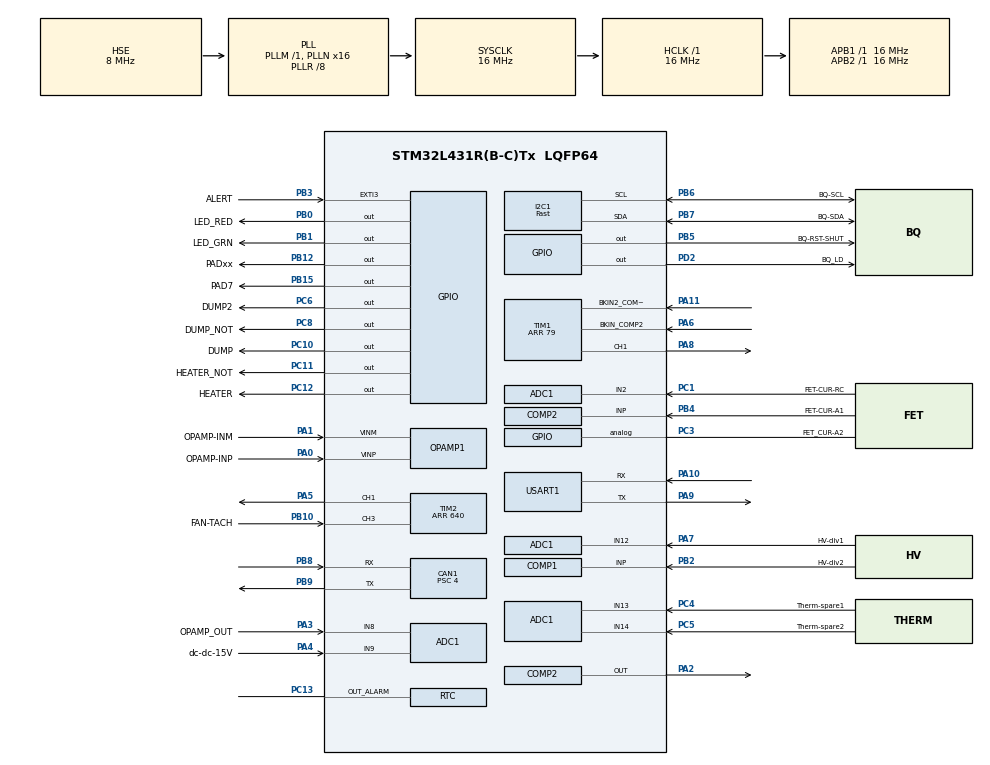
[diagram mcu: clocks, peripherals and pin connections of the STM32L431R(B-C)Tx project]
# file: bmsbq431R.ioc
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ADC1.Channel-0\#ChannelRegularConversion=ADC_CHANNEL_8
ADC1.Channel-1\#ChannelRegularConversion=ADC_CHANNEL_9
ADC1.Channel-2\#ChannelRegularConversion=ADC_CHANNEL_12
ADC1.Channel-3\#ChannelRegularConversion=ADC_CHANNEL_2
ADC1.Channel-4\#ChannelRegularConversion=ADC_CHANNEL_13
ADC1.Channel-5\#ChannelRegularConversion=ADC_CHANNEL_14
ADC1.Channel-6\#ChannelRegularConversion=ADC_CHANNEL_TEMPSENSOR
ADC1.Channel-7\#ChannelRegularConversion=ADC_CHANNEL_VREFINT
ADC1.ClockPrescaler=ADC_CLOCK_ASYNC_DIV1
ADC1.ContinuousConvMode=ENABLE
ADC1.DMAContinuousRequests=ENABLE
ADC1.EOCSelection=ADC_EOC_SEQ_CONV
ADC1.EnableInjectedConversion=DISABLE
ADC1.NbrOfConversion=8
ADC1.NbrOfConversionFlag=1
ADC1.OffsetNumber-0\#ChannelRegularConversion=ADC_OFFSET_NONE
ADC1.OffsetNumber-1\#ChannelRegularConversion=ADC_OFFSET_NONE
ADC1.OffsetNumber-2\#ChannelRegularConversion=ADC_OFFSET_NONE
ADC1.OffsetNumber-3\#ChannelRegularConversion=ADC_OFFSET_NONE
ADC1.OffsetNumber-4\#ChannelRegularConversion=ADC_OFFSET_NONE
ADC1.OffsetNumber-5\#ChannelRegularConversion=ADC_OFFSET_NONE
ADC1.OffsetNumber-6\#ChannelRegularConversion=ADC_OFFSET_NONE
ADC1.OffsetNumber-7\#ChannelRegularConversion=ADC_OFFSET_NONE
ADC1.Rank-0\#ChannelRegularConversion=1
ADC1.Rank-1\#ChannelRegularConversion=2
ADC1.Rank-2\#ChannelRegularConversion=3
ADC1.Rank-3\#ChannelRegularConversion=4
ADC1.Rank-4\#ChannelRegularConversion=5
ADC1.Rank-5\#ChannelRegularConversion=6
ADC1.Rank-6\#ChannelRegularConversion=7
ADC1.Rank-7\#ChannelRegularConversion=8
ADC1.SamplingTime-0\#ChannelRegularConversion=ADC_SAMPLETIME_24CYCLES_5
ADC1.SamplingTime-1\#ChannelRegularConversion=ADC_SAMPLETIME_47CYCLES_5
ADC1.SamplingTime-2\#ChannelRegularConversion=ADC_SAMPLETIME_92CYCLES_5
ADC1.SamplingTime-3\#ChannelRegularConversion=ADC_SAMPLETIME_12CYCLES_5
ADC1.SamplingTime-4\#ChannelRegularConversion=ADC_SAMPLETIME_47CYCLES_5
ADC1.SamplingTime-5\#ChannelRegularConversion=ADC_SAMPLETIME_47CYCLES_5
ADC1.SamplingTime-6\#ChannelRegularConversion=ADC_SAMPLETIME_247CYCLES_5
ADC1.SamplingTime-7\#ChannelRegularConversion=ADC_SAMPLETIME_247CYCLES_5
ADC1.master=1
CAN1.ABOM=ENABLE
CAN1.BS1=CAN_BS1_5TQ
CAN1.BS2=CAN_BS2_2TQ
CAN1.CalculateBaudRate=500000
CAN1.CalculateTimeBit=2000.00
CAN1.CalculateTimeQuantum=250.0
CAN1.Prescaler=4
COMP1.BlankingSrce=COMP_BLANKINGSRC_NONE
COMP2.BlankingSrce=COMP_BLANKINGSRC_NONE
DAC1.DAC_Channel-DAC_OUT2_Int=DAC_CHANNEL_2
Dma.ADC1.4.Direction=DMA_PERIPH_TO_MEMORY
Dma.ADC1.4.Instance=DMA1_Channel1
Dma.ADC1.4.MemDataAlignment=DMA_MDATAALIGN_HALFWORD
Dma.ADC1.4.MemInc=DMA_MINC_ENABLE
Dma.ADC1.4.Mode=DMA_CIRCULAR
Dma.ADC1.4.PeriphDataAlignment=DMA_PDATAALIGN_HALFWORD
Dma.ADC1.4.PeriphInc=DMA_PINC_DISABLE
Dma.ADC1.4.Priority=DMA_PRIORITY_LOW
Dma.I2C1_RX.2.Direction=DMA_PERIPH_TO_MEMORY
Dma.I2C1_RX.2.Instance=DMA1_Channel7
Dma.I2C1_RX.2.MemDataAlignment=DMA_MDATAALIGN_BYTE
Dma.I2C1_RX.2.MemInc=DMA_MINC_ENABLE
Dma.I2C1_RX.2.Mode=DMA_NORMAL
Dma.I2C1_RX.2.PeriphDataAlignment=DMA_PDATAALIGN_BYTE
Dma.I2C1_RX.2.PeriphInc=DMA_PINC_DISABLE
Dma.I2C1_RX.2.Priority=DMA_PRIORITY_LOW
Dma.I2C1_TX.3.Direction=DMA_MEMORY_TO_PERIPH
Dma.I2C1_TX.3.Instance=DMA1_Channel6
Dma.I2C1_TX.3.MemDataAlignment=DMA_MDATAALIGN_BYTE
Dma.I2C1_TX.3.MemInc=DMA_MINC_ENABLE
Dma.I2C1_TX.3.Mode=DMA_NORMAL
Dma.I2C1_TX.3.PeriphDataAlignment=DMA_PDATAALIGN_BYTE
Dma.I2C1_TX.3.PeriphInc=DMA_PINC_DISABLE
Dma.I2C1_TX.3.Priority=DMA_PRIORITY_LOW
Dma.Request0=USART1_RX
Dma.Request1=USART1_TX
Dma.Request2=I2C1_RX
Dma.Request3=I2C1_TX
Dma.Request4=ADC1
Dma.USART1_RX.0.Direction=DMA_PERIPH_TO_MEMORY
Dma.USART1_RX.0.Instance=DMA2_Channel7
Dma.USART1_RX.0.MemDataAlignment=DMA_MDATAALIGN_BYTE
Dma.USART1_RX.0.MemInc=DMA_MINC_ENABLE
Dma.USART1_RX.0.Mode=DMA_CIRCULAR
Dma.USART1_RX.0.PeriphDataAlignment=DMA_PDATAALIGN_BYTE
Dma.USART1_RX.0.PeriphInc=DMA_PINC_DISABLE
Dma.USART1_RX.0.Priority=DMA_PRIORITY_LOW
Dma.USART1_TX.1.Direction=DMA_MEMORY_TO_PERIPH
Dma.USART1_TX.1.Instance=DMA2_Channel6
Dma.USART1_TX.1.MemDataAlignment=DMA_MDATAALIGN_BYTE
Dma.USART1_TX.1.MemInc=DMA_MINC_ENABLE
Dma.USART1_TX.1.Mode=DMA_NORMAL
Dma.USART1_TX.1.PeriphDataAlignment=DMA_PDATAALIGN_BYTE
Dma.USART1_TX.1.PeriphInc=DMA_PINC_DISABLE
Dma.USART1_TX.1.Priority=DMA_PRIORITY_LOW
FREERTOS.Tasks01=defaultTask,24,384,StartDefaultTask,Default,NULL,Dynamic,NULL,NULL
FREERTOS.configTOTAL_HEAP_SIZE=15360
I2C1.I2C_Speed_Mode=I2C_Fast
I2C1.Timing=0x0010061A
Mcu.Family=STM32L4
Mcu.Name=STM32L431R(B-C)Tx
Mcu.Package=LQFP64
NVIC.CAN1_RX0_IRQn=true\:7\:0\:true\:false\:true\:true\:true\:true
NVIC.CAN1_RX1_IRQn=true\:7\:0\:true\:false\:true\:true\:true\:true
NVIC.CAN1_TX_IRQn=true\:7\:0\:true\:false\:true\:true\:true\:true
NVIC.DMA1_Channel1_IRQn=true\:6\:0\:true\:false\:true\:true\:false\:true
NVIC.DMA1_Channel6_IRQn=true\:6\:0\:true\:false\:true\:true\:false\:true
NVIC.DMA1_Channel7_IRQn=true\:6\:0\:true\:false\:true\:true\:false\:true
NVIC.DMA2_Channel6_IRQn=true\:6\:0\:true\:false\:true\:false\:false\:true
NVIC.DMA2_Channel7_IRQn=true\:6\:0\:true\:false\:true\:false\:false\:true
NVIC.EXTI3_IRQn=true\:11\:0\:true\:false\:true\:true\:true\:true
NVIC.I2C1_EV_IRQn=true\:8\:0\:true\:false\:true\:true\:true\:true
NVIC.PriorityGroup=NVIC_PRIORITYGROUP_4
NVIC.TIM1_UP_TIM16_IRQn=true\:0\:0\:false\:false\:true\:false\:false\:true
NVIC.TIM2_IRQn=true\:11\:0\:true\:false\:true\:true\:true\:true
NVIC.TimeBase=TIM1_UP_TIM16_IRQn
NVIC.TimeBaseIP=TIM16
NVIC.USART1_IRQn=true\:10\:0\:true\:false\:true\:true\:true\:true
OPAMP1.PgaGain=OPAMP_PGA_GAIN_8
OPAMP1.PowerSupplyRange=OPAMP_POWERSUPPLY_HIGH
PA0.GPIO_Label=OPAMP-INP
PA0.Signal=SharedAnalog_PA0
PA1.GPIO_Label=OPAMP-INM
PA1.Signal=SharedAnalog_PA1
PA10.Mode=Asynchronous
PA10.Signal=USART1_RX
PA11.Mode=ExternalOutput_TIM1BKIN2
PA11.Signal=TIM1_BKIN2_COMP1
PA13\ (JTMS-SWDIO).Mode=Serial_Wire
PA13\ (JTMS-SWDIO).Signal=SYS_JTMS-SWDIO
PA14\ (JTCK-SWCLK).Mode=Serial_Wire
PA14\ (JTCK-SWCLK).Signal=SYS_JTCK-SWCLK
PA2.Mode=ExternalOutput
PA2.Signal=COMP2_OUT
PA3.GPIO_Label=OPAMP_OUT
PA3.Signal=SharedAnalog_PA3
PA4.GPIO_Label=dc-dc-15V
PA4.Signal=SharedAnalog_PA4
PA5.Signal=S_TIM2_CH1
PA6.Mode=ExternalOutput_TIM1BKIN
PA6.Signal=TIM1_BKIN_COMP2
PA7.GPIO_Label=HV-div1
PA7.Signal=SharedAnalog_PA7
PA8.Signal=S_TIM1_CH1
PA9.Mode=Asynchronous
PA9.Signal=USART1_TX
PB0.GPIO_Label=LED_RED
PB0.PinState=GPIO_PIN_SET
PB0.Signal=GPIO_Output
PB1.GPIO_Label=LED_GRN
PB1.PinState=GPIO_PIN_SET
PB1.Signal=GPIO_Output
PB10.GPIO_Label=FAN-TACH
PB10.GPIO_PuPd=GPIO_PULLUP
PB10.Signal=S_TIM2_CH3
PB12.GPIO_Label=PADxx
PB12.Signal=GPIO_Output
PB13.GPIO_Pu=GPIO_NOPULL
PB13.GPIO_Speed=GPIO_SPEED_FREQ_LOW
PB13.Signal=I2C2_SCL
PB14.GPIO_Pu=GPIO_NOPULL
PB14.Signal=I2C2_SDA
PB15.GPIO_Label=PAD7
PB15.Signal=GPIO_Output
PB2.GPIO_Label=HV-div2
PB2.Signal=SharedAnalog_PB2
PB3\ (JTDO-TRACESWO).GPIO_Label=ALERT
PB3\ (JTDO-TRACESWO).Signal=GPXTI3
PB4\ (NJTRST).GPIO_Label=FET-CUR-A1
PB4\ (NJTRST).Signal=SharedAnalog_PB4
PB5.GPIO_Label=BQ-RST-SHUT
PB5.Signal=GPIO_Output
PB6.GPIO_Label=BQ-SCL
PB6.GPIO_Pu=GPIO_PULLUP
PB6.Mode=I2C
PB6.Signal=I2C1_SCL
PB7.GPIO_Label=BQ-SDA
PB7.GPIO_Pu=GPIO_PULLUP
PB7.Mode=I2C
PB7.Signal=I2C1_SDA
PB8.Mode=CAN_Activate
PB8.Signal=CAN1_RX
PB9.Mode=CAN_Activate
PB9.Signal=CAN1_TX
PC1.GPIO_Label=FET-CUR-RC
PC1.Signal=SharedAnalog_PC1
PC10.GPIO_Label=DUMP
PC10.Signal=GPIO_Output
PC11.GPIO_Label=HEATER_NOT
PC11.Signal=GPIO_Output
PC12.GPIO_Label=HEATER
PC12.Signal=GPIO_Output
PC13.Mode=AlarmA_RoutedAF
PC13.Signal=RTC_OUT_ALARM
PC3.GPIO_Label=FET_CUR-A2
PC3.Signal=SharedAnalog_PC3
PC4.GPIO_Label=Therm-spare1
PC4.Signal=ADCx_IN13
PC5.GPIO_Label=Therm-spare2
PC5.Signal=ADCx_IN14
PC6.GPIO_Label=DUMP2
PC6.GPIO_PuPd=GPIO_PULLDOWN
PC6.Signal=GPIO_Output
PC8.GPIO_Label=DUMP_NOT
PC8.Signal=GPIO_Output
PD2.GPIO_Label=BQ_LD
PD2.Signal=GPIO_Output
PH0-OSC_IN\ (PH0).Mode=HSE-External-Oscillator
PH0-OSC_IN\ (PH0).Signal=RCC_OSC_IN
PH1-OSC_OUT\ (PH1).Mode=HSE-External-Oscillator
PH1-OSC_OUT\ (PH1).Signal=RCC_OSC_OUT
ProjectManager.HeapSize=0x200
ProjectManager.StackSize=0x400
ProjectManager.TargetToolchain=Makefile
RCC.ADCFreq_Value=16000000
RCC.AHBFreq_Value=16000000
RCC.APB1Freq_Value=16000000
RCC.APB1TimFreq_Value=16000000
RCC.APB2Freq_Value=16000000
RCC.APB2TimFreq_Value=16000000
RCC.CortexFreq_Value=16000000
RCC.HCLKFreq_Value=16000000
RCC.HSE_VALUE=8000000
RCC.HSI48_VALUE=48000000
RCC.HSI_VALUE=16000000
RCC.I2C1CLockSelection=RCC_I2C1CLKSOURCE_SYSCLK
RCC.LSE_VALUE=32768
RCC.MSIClockRange=RCC_MSIRANGE_7
RCC.MSI_VALUE=8000000
RCC.PLLN=16
RCC.PLLR=RCC_PLLR_DIV8
RCC.PLLSAI1R=RCC_PLLR_DIV4
RCC.PLLSourceVirtual=RCC_PLLSOURCE_HSE
RCC.SYSCLKFreq_VALUE=16000000
RCC.SYSCLKSource=RCC_SYSCLKSOURCE_PLLCLK
RCC.USART1CLockSelection=RCC_USART1CLKSOURCE_HSI
RCC.VCOOutputFreq_Value=128000000
RTC.Alarm-AlarmA_RoutedAF=RTC_ALARM_A
RTC.OutPutType=RTC_OUTPUT_TYPE_PUSHPULL
SH.ADCx_IN13.0=ADC1_IN13,IN13-Single-Ended
SH.ADCx_IN14.0=ADC1_IN14,IN14-Single-Ended
SH.S_TIM1_CH1.0=TIM1_CH1,PWM Generation1 CH1
SH.S_TIM2_CH1.0=TIM2_CH1,PWM Generation1 CH1
SH.S_TIM2_CH3.0=TIM2_CH3,Input_Capture3_from_TI3
SH.SharedAnalog_PA0.0=GPIO_Analog
SH.SharedAnalog_PA0.1=ADC1_IN5
SH.SharedAnalog_PA0.2=OPAMP1_VINP,PGA Connected
SH.SharedAnalog_PA1.0=GPIO_Analog
SH.SharedAnalog_PA1.1=OPAMP1_VINM,PGA Connected
SH.SharedAnalog_PA3.0=GPIO_Analog
SH.SharedAnalog_PA3.1=ADC1_IN8,IN8-Single-Ended
SH.SharedAnalog_PA3.2=OPAMP1_VOUT,PGA Connected
SH.SharedAnalog_PA4.0=GPIO_Analog
SH.SharedAnalog_PA4.1=ADC1_IN9,IN9-Single-Ended
SH.SharedAnalog_PA7.0=GPIO_Analog
SH.SharedAnalog_PA7.1=ADC1_IN12,IN12-Single-Ended
SH.SharedAnalog_PB2.0=GPIO_Analog
SH.SharedAnalog_PB2.1=COMP1_INP,INP
SH.SharedAnalog_PB4.0=GPIO_Analog
SH.SharedAnalog_PB4.1=COMP2_INP,INP
SH.SharedAnalog_PC1.0=GPIO_Analog
SH.SharedAnalog_PC1.1=ADC1_IN2,IN2-Single-Ended
SH.SharedAnalog_PC3.0=GPIO_Analog
SH.SharedAnalog_PC3.1=ADC1_IN4
TIM1.AutomaticOutput=TIM_AUTOMATICOUTPUT_ENABLE
TIM1.Channel-PWM\ Generation1\ CH1=TIM_CHANNEL_1
TIM1.Period=79
TIM1.SourceBRK2COMP1=TIM_BREAKINPUTSOURCE_ENABLE
TIM1.SourceBRK2COMP2=TIM_BREAKINPUTSOURCE_DISABLE
TIM1.SourceBRKCOMP2=TIM_BREAKINPUTSOURCE_ENABLE
TIM2.Channel-Input_Capture3_from_TI3=TIM_CHANNEL_3
TIM2.Channel-PWM\ Generation1\ CH1=TIM_CHANNEL_1
TIM2.Period=640
USART1.OverSampling=UART_OVERSAMPLING_8
USART1.VirtualMode-Asynchronous=VM_ASYNC
VP_ADC1_TempSens_Input.Mode=IN-TempSens
VP_ADC1_Vref_Input.Mode=IN-Vrefint
VP_COMP1_VS_DACOUT1.Mode=INM_DACOUT1
VP_COMP2_VS_DACOUT2.Mode=INM_DACOUT2
VP_DAC1_VS_DACI1.Mode=DAC_OUT1_Int
VP_DAC1_VS_DACI2.Mode=DAC_OUT2_Int
VP_FREERTOS_VS_CMSIS_V2.Mode=CMSIS_V2
VP_RTC_VS_RTC_Activate.Mode=RTC_Enabled
VP_RTC_VS_RTC_Calendar.Mode=RTC_Calendar
VP_SYS_VS_tim16.Mode=TIM16
VP_TIM15_VS_ClockSourceINT.Mode=Internal
VP_TIM1_VS_BKIN2_COMP1.Mode=Activate-Break-Input-2-COMP1
VP_TIM1_VS_BKIN_COMP2.Mode=Activate-Break-Input-COMP2
VP_TIM1_VS_ClockSourceINT.Mode=Internal
VP_TIM2_VS_ClockSourceINT.Mode=Internal
board=custom

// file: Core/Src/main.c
/* USER CODE BEGIN Header */
/**
  ******************************************************************************
  * @file           : main.c
  * @brief          : Main program body
  ******************************************************************************
  * @attention
  *
  * <h2><center>&copy; Copyright (c) 2021 STMicroelectronics.
  * All rights reserved.</center></h2>
  *
  * This software component is licensed by ST under Ultimate Liberty license
  * SLA0044, the "License"; You may not use this file except in compliance with
  * the License. You may obtain a copy of the License at:
  *                             www.st.com/SLA0044
  *
  ******************************************************************************
  */
/* USER CODE END Header */
#include "main.h"
#include "cmsis_os.h"

/* USER CODE BEGIN Includes */
#include <string.h>
#include "morse.h"
#include "DTW_counter.h"
#include "fetonoff.h"

#include "SerialTaskSend.h"
#include "SerialTaskReceive.h"
#include "CanTask.h"
#include "can_iface.h"
#include "canfilter_setup.h"
#include "getserialbuf.h"
#include "yprintf.h"
#include "DTW_counter.h"
#include "BQTask.h"
#include "bqview.h"
#include "bqcellbal.h"
#include "ChgrTask.h"
#include "bq_func_init.h"
#include "ADCTask.h"
#include "MailboxTask.h"
#include "CanCommTask.h"
#include "FanTask.h"

#include "FreeRTOS.h"
#include "semphr.h"
/* USER CODE END Includes */

/* USER CODE BEGIN PTD */
uint32_t timectr = 0;
struct CAN_CTLBLOCK* pctl0; // Pointer to CAN1 control block
//struct CAN_CTLBLOCK* pctl1; // Pointer to CAN2 control block

uint32_t debugTX1b;
uint32_t debugTX1b_prev;

uint32_t debugTX1c;
uint32_t debugTX1c_prev;

uint32_t debug03;
uint32_t debug03_prev;

//extern osThreadId SerialTaskHandle;
//extern osThreadId CanTxTaskHandle;
//extern osThreadId CanRxTaskHandle;
//extern osThreadId SerialTaskReceiveHandle;

uint16_t m_trap = 450; // Trap codes for MX Init() and Error Handler

uint8_t canflag;
uint8_t canflag1;
//uint8_t canflag2;

/* USER CODE END PTD */

ADC_HandleTypeDef hadc1;
DMA_HandleTypeDef hdma_adc1;

CAN_HandleTypeDef hcan1;

COMP_HandleTypeDef hcomp1;
COMP_HandleTypeDef hcomp2;

DAC_HandleTypeDef hdac1;

I2C_HandleTypeDef hi2c1;
DMA_HandleTypeDef hdma_i2c1_rx;
DMA_HandleTypeDef hdma_i2c1_tx;

OPAMP_HandleTypeDef hopamp1;

RTC_HandleTypeDef hrtc;

TIM_HandleTypeDef htim1;
TIM_HandleTypeDef htim2;
TIM_HandleTypeDef htim15;

UART_HandleTypeDef huart1;
DMA_HandleTypeDef hdma_usart1_rx;
DMA_HandleTypeDef hdma_usart1_tx;

/* Definitions for defaultTask */
osThreadId_t defaultTaskHandle;
const osThreadAttr_t defaultTask_attributes = {
  .name = "defaultTask",
  .stack_size = 384 * 4,
  .priority = (osPriority_t) osPriorityNormal,
};
/* USER CODE BEGIN PV */
uint16_t errorcode;
/* USER CODE END PV */

void SystemClock_Config(void);
static void MX_GPIO_Init(void);
static void MX_DMA_Init(void);
static void MX_ADC1_Init(void);
static void MX_CAN1_Init(void);
static void MX_I2C1_Init(void);
static void MX_RTC_Init(void);
static void MX_TIM2_Init(void);
static void MX_USART1_UART_Init(void);
static void MX_COMP1_Init(void);
static void MX_COMP2_Init(void);
static void MX_DAC1_Init(void);
static void MX_TIM1_Init(void);
static void MX_TIM15_Init(void);
static void MX_OPAMP1_Init(void);
void StartDefaultTask(void *argument);

int main(void)
{
  /* USER CODE BEGIN 1 */
  BaseType_t ret;    // Used for returns from function calls
  osThreadId Thrdret;  // Return from thread create
  /* USER CODE END 1 */

  /* MCU Configuration--------------------------------------------------------*/

  /* Reset of all peripherals, Initializes the Flash interface and the Systick. */
  HAL_Init();

  /* USER CODE BEGIN Init */
  DTW_counter_init();
  /* USER CODE END Init */

  /* Configure the system clock */
  SystemClock_Config();

  /* USER CODE BEGIN SysInit */
#define NUMCIRBCB1  16 // Size of circular buffer of BCB for usart3
  ret = xSerialTaskSendAdd(&HUARTMON, NUMCIRBCB1, 1); // dma
  if (ret < 0) morse_trap(111); // Panic LED flashing
  /* USER CODE END SysInit */

  /* Initialize all configured peripherals */
  MX_GPIO_Init();
  MX_DMA_Init();
  MX_ADC1_Init();
  MX_CAN1_Init();
  MX_I2C1_Init();
  MX_RTC_Init();
  MX_TIM2_Init();
  MX_USART1_UART_Init();
  MX_COMP1_Init();
  MX_COMP2_Init();
  MX_DAC1_Init();
  MX_TIM1_Init();
  MX_TIM15_Init();
  MX_OPAMP1_Init();

  /* Init scheduler */
  osKernelInitialize();

  /* USER CODE BEGIN RTOS_SEMAPHORES */
  /* add semaphores, ... */
  /* Setup semaphore for yprint and sprintf et al. */
  yprintf_init();
  /* USER CODE END RTOS_SEMAPHORES */

  /* Create the thread(s) */
  /* creation of defaultTask */
  defaultTaskHandle = osThreadNew(StartDefaultTask, NULL, &defaultTask_attributes);

  /* USER CODE BEGIN RTOS_THREADS */
  /* add threads, ... */

  Thrdret = xADCTaskCreate(1); // (arg) = priority
  if (Thrdret == NULL) morse_trap(117);

  /* Create serial task (priority) */
  // Task handle "osThreadId SerialTaskHandle" is global
  Thrdret = xSerialTaskSendCreate(osPriorityNormal); // Create task and set Task priority
  if (Thrdret == NULL) morse_trap(112);

    /* Add bcb circular buffer to SerialTaskSend for usart3 -- PC monitor */
  #define NUMCIRBCB3  16 // Size of circular buffer of BCB for usart3
  ret = xSerialTaskSendAdd(&HUARTMON, NUMCIRBCB3, 1); // dma
  if (ret < 0) morse_trap(14); // Panic LED flashing

  /* Setup TX linked list for CAN  */
   // CAN1 (CAN_HandleTypeDef *phcan, uint8_t canidx, uint16_t numtx, uint16_t numrx);
  pctl0 = can_iface_init(&hcan1, 0, 32, 32);
  if (pctl0 == NULL) morse_trap(118); // Panic LED flashing
  if (pctl0->ret < 0) morse_trap(119);

  /* Create serial receiving task. */
  //ret = xSerialTaskReceiveCreate(osPriorityNormal);
  //if (ret != pdPASS) morse_trap(113);

  /* BQ76952 I2C task. */
  TaskHandle_t retT = xBQTaskCreate(osPriorityNormal);
  if (retT == NULL) morse_trap(114);

   /* Charger task. */
  retT = xChgrTaskCreate(osPriorityNormal);
  if (retT == NULL) morse_trap(116);

  /* USER CODE END RTOS_THREADS */

  /* USER CODE BEGIN RTOS_EVENTS */
  /* add events, ... */
  // Initialize struct for BQ. */
  bq_func_init(&bqfunction);

  /* definition and creation of CanTxTask - CAN driver TX interface. */
  QueueHandle_t QHret = xCanTxTaskCreate(2, 32); // CanTask priority, Number of msgs in queue
  if (QHret == NULL) morse_trap(120); // Panic LED flashing

  /* definition and creation of CanRxTask - CAN driver RX interface. */
  /* The MailboxTask takes care of the CANRx                         */
//  Qidret = xCanRxTaskCreate(1, 32); // CanTask priority, Number of msgs in queue
//  if (Qidret < 0) morse_trap(6); // Panic LED flashing

  /* Create MailboxTask */
  xMailboxTaskCreate(2); // (arg) = priority

  /* Create Mailbox control block w 'take' pointer for each CAN module. */
  struct MAILBOXCANNUM* pmbxret;
  // (CAN1 control block pointer, size of circular buffer)
  pmbxret = MailboxTask_add_CANlist(pctl0, 32);
  if (pmbxret == NULL) morse_trap(215);

  /* Setup CAN hardware filters to default to accept all ids. */
  HAL_StatusTypeDef Cret;
  Cret = canfilter_setup_first(0, &hcan1, 15); // CAN1
  if (Cret == HAL_ERROR) morse_trap(122);

  /* CAN communication */
  retT = xCanCommCreate(osPriorityNormal);
  if (retT == NULL) morse_trap(121);

    /* Select interrupts for CAN1 */
  HAL_CAN_ActivateNotification(&hcan1, \
    CAN_IT_TX_MAILBOX_EMPTY     |  \
    CAN_IT_RX_FIFO0_MSG_PENDING |  \
    CAN_IT_RX_FIFO1_MSG_PENDING    );

  /* Fan control task. */
  retT = xFanTaskCreate(osPriorityNormal);
  if (retT == NULL) morse_trap(124);

  /* USER CODE END RTOS_EVENTS */

  /* Start scheduler */
  osKernelStart();

  /* We should never get here as control is now taken by the scheduler */
  /* Infinite loop */
  while (1)
  {

  }
}

void SystemClock_Config(void)
{
  RCC_OscInitTypeDef RCC_OscInitStruct = {0};
  RCC_ClkInitTypeDef RCC_ClkInitStruct = {0};

  /** Configure the main internal regulator output voltage
  */
  if (HAL_PWREx_ControlVoltageScaling(PWR_REGULATOR_VOLTAGE_SCALE1) != HAL_OK)
  {
    Error_Handler();
  }
  /** Initializes the RCC Oscillators according to the specified parameters
  * in the RCC_OscInitTypeDef structure.
  */
  RCC_OscInitStruct.OscillatorType = RCC_OSCILLATORTYPE_HSI|RCC_OSCILLATORTYPE_LSI
                              |RCC_OSCILLATORTYPE_HSE;
  RCC_OscInitStruct.HSEState = RCC_HSE_ON;
  RCC_OscInitStruct.HSIState = RCC_HSI_ON;
  RCC_OscInitStruct.HSICalibrationValue = RCC_HSICALIBRATION_DEFAULT;
  RCC_OscInitStruct.LSIState = RCC_LSI_ON;
  RCC_OscInitStruct.PLL.PLLState = RCC_PLL_ON;
  RCC_OscInitStruct.PLL.PLLSource = RCC_PLLSOURCE_HSE;
  RCC_OscInitStruct.PLL.PLLM = 1;
  RCC_OscInitStruct.PLL.PLLN = 16;
  RCC_OscInitStruct.PLL.PLLP = RCC_PLLP_DIV7;
  RCC_OscInitStruct.PLL.PLLQ = RCC_PLLQ_DIV2;
  RCC_OscInitStruct.PLL.PLLR = RCC_PLLR_DIV8;
  if (HAL_RCC_OscConfig(&RCC_OscInitStruct) != HAL_OK)
  {
    Error_Handler();
  }
  /** Initializes the CPU, AHB and APB buses clocks
  */
  RCC_ClkInitStruct.ClockType = RCC_CLOCKTYPE_HCLK|RCC_CLOCKTYPE_SYSCLK
                              |RCC_CLOCKTYPE_PCLK1|RCC_CLOCKTYPE_PCLK2;
  RCC_ClkInitStruct.SYSCLKSource = RCC_SYSCLKSOURCE_PLLCLK;
  RCC_ClkInitStruct.AHBCLKDivider = RCC_SYSCLK_DIV1;
  RCC_ClkInitStruct.APB1CLKDivider = RCC_HCLK_DIV1;
  RCC_ClkInitStruct.APB2CLKDivider = RCC_HCLK_DIV1;

  if (HAL_RCC_ClockConfig(&RCC_ClkInitStruct, FLASH_LATENCY_0) != HAL_OK)
  {
    Error_Handler();
  }
}

static void MX_ADC1_Init(void)
{

  ADC_ChannelConfTypeDef sConfig = {0};

  /** Common config
  */
  hadc1.Instance = ADC1;
  hadc1.Init.ClockPrescaler = ADC_CLOCK_ASYNC_DIV1;
  hadc1.Init.Resolution = ADC_RESOLUTION_12B;
  hadc1.Init.DataAlign = ADC_DATAALIGN_RIGHT;
  hadc1.Init.ScanConvMode = ADC_SCAN_ENABLE;
  hadc1.Init.EOCSelection = ADC_EOC_SEQ_CONV;
  hadc1.Init.LowPowerAutoWait = DISABLE;
  hadc1.Init.ContinuousConvMode = ENABLE;
  hadc1.Init.NbrOfConversion = 8;
  hadc1.Init.DiscontinuousConvMode = DISABLE;
  hadc1.Init.ExternalTrigConv = ADC_SOFTWARE_START;
  hadc1.Init.ExternalTrigConvEdge = ADC_EXTERNALTRIGCONVEDGE_NONE;
  hadc1.Init.DMAContinuousRequests = ENABLE;
  hadc1.Init.Overrun = ADC_OVR_DATA_PRESERVED;
  hadc1.Init.OversamplingMode = DISABLE;
  if (HAL_ADC_Init(&hadc1) != HAL_OK)
  {
    Error_Handler();
  }
  /** Configure Regular Channel
  */
  sConfig.Channel = ADC_CHANNEL_8;
  sConfig.Rank = ADC_REGULAR_RANK_1;
  sConfig.SamplingTime = ADC_SAMPLETIME_24CYCLES_5;
  sConfig.SingleDiff = ADC_SINGLE_ENDED;
  sConfig.OffsetNumber = ADC_OFFSET_NONE;
  sConfig.Offset = 0;
  if (HAL_ADC_ConfigChannel(&hadc1, &sConfig) != HAL_OK)
  {
    Error_Handler();
  }
  /** Configure Regular Channel
  */
  sConfig.Channel = ADC_CHANNEL_9;
  sConfig.Rank = ADC_REGULAR_RANK_2;
  sConfig.SamplingTime = ADC_SAMPLETIME_47CYCLES_5;
  if (HAL_ADC_ConfigChannel(&hadc1, &sConfig) != HAL_OK)
  {
    Error_Handler();
  }
  /** Configure Regular Channel
  */
  sConfig.Channel = ADC_CHANNEL_12;
  sConfig.Rank = ADC_REGULAR_RANK_3;
  sConfig.SamplingTime = ADC_SAMPLETIME_92CYCLES_5;
  if (HAL_ADC_ConfigChannel(&hadc1, &sConfig) != HAL_OK)
  {
    Error_Handler();
  }
  /** Configure Regular Channel
  */
  sConfig.Channel = ADC_CHANNEL_2;
  sConfig.Rank = ADC_REGULAR_RANK_4;
  sConfig.SamplingTime = ADC_SAMPLETIME_12CYCLES_5;
  if (HAL_ADC_ConfigChannel(&hadc1, &sConfig) != HAL_OK)
  {
    Error_Handler();
  }
  /** Configure Regular Channel
  */
  sConfig.Channel = ADC_CHANNEL_13;
  sConfig.Rank = ADC_REGULAR_RANK_5;
  sConfig.SamplingTime = ADC_SAMPLETIME_47CYCLES_5;
  if (HAL_ADC_ConfigChannel(&hadc1, &sConfig) != HAL_OK)
  {
    Error_Handler();
  }
  /** Configure Regular Channel
  */
  sConfig.Channel = ADC_CHANNEL_14;
  sConfig.Rank = ADC_REGULAR_RANK_6;
  if (HAL_ADC_ConfigChannel(&hadc1, &sConfig) != HAL_OK)
  {
    Error_Handler();
  }
  /** Configure Regular Channel
  */
  sConfig.Channel = ADC_CHANNEL_TEMPSENSOR;
  sConfig.Rank = ADC_REGULAR_RANK_7;
  sConfig.SamplingTime = ADC_SAMPLETIME_247CYCLES_5;
  if (HAL_ADC_ConfigChannel(&hadc1, &sConfig) != HAL_OK)
  {
    Error_Handler();
  }
  /** Configure Regular Channel
  */
  sConfig.Channel = ADC_CHANNEL_VREFINT;
  sConfig.Rank = ADC_REGULAR_RANK_8;
  if (HAL_ADC_ConfigChannel(&hadc1, &sConfig) != HAL_OK)
  {
    Error_Handler();
  }

}

static void MX_CAN1_Init(void)
{

  hcan1.Instance = CAN1;
  hcan1.Init.Prescaler = 4;
  hcan1.Init.Mode = CAN_MODE_NORMAL;
  hcan1.Init.SyncJumpWidth = CAN_SJW_1TQ;
  hcan1.Init.TimeSeg1 = CAN_BS1_5TQ;
  hcan1.Init.TimeSeg2 = CAN_BS2_2TQ;
  hcan1.Init.TimeTriggeredMode = DISABLE;
  hcan1.Init.AutoBusOff = ENABLE;
  hcan1.Init.AutoWakeUp = DISABLE;
  hcan1.Init.AutoRetransmission = DISABLE;
  hcan1.Init.ReceiveFifoLocked = DISABLE;
  hcan1.Init.TransmitFifoPriority = DISABLE;
  if (HAL_CAN_Init(&hcan1) != HAL_OK)
  {
    Error_Handler();
  }

}

static void MX_COMP1_Init(void)
{

  /* USER CODE BEGIN COMP1_Init 0 */
  errorcode = 998; // Error_Handler morse_trap code

  /* USER CODE END COMP1_Init 0 */

  hcomp1.Instance = COMP1;
  hcomp1.Init.InvertingInput = COMP_INPUT_MINUS_DAC1_CH1;
  hcomp1.Init.NonInvertingInput = COMP_INPUT_PLUS_IO2;
  hcomp1.Init.OutputPol = COMP_OUTPUTPOL_NONINVERTED;
  hcomp1.Init.Hysteresis = COMP_HYSTERESIS_NONE;
  hcomp1.Init.BlankingSrce = COMP_BLANKINGSRC_NONE;
  hcomp1.Init.Mode = COMP_POWERMODE_HIGHSPEED;
  hcomp1.Init.WindowMode = COMP_WINDOWMODE_DISABLE;
  hcomp1.Init.TriggerMode = COMP_TRIGGERMODE_NONE;
  if (HAL_COMP_Init(&hcomp1) != HAL_OK)
  {
    Error_Handler();
  }

}

static void MX_COMP2_Init(void)
{

  /* USER CODE BEGIN COMP2_Init 0 */
  errorcode = 997; // Error_Handler morse_trap code

  /* USER CODE END COMP2_Init 0 */

  hcomp2.Instance = COMP2;
  hcomp2.Init.InvertingInput = COMP_INPUT_MINUS_DAC1_CH2;
  hcomp2.Init.NonInvertingInput = COMP_INPUT_PLUS_IO1;
  hcomp2.Init.OutputPol = COMP_OUTPUTPOL_NONINVERTED;
  hcomp2.Init.Hysteresis = COMP_HYSTERESIS_NONE;
  hcomp2.Init.BlankingSrce = COMP_BLANKINGSRC_NONE;
  hcomp2.Init.Mode = COMP_POWERMODE_HIGHSPEED;
  hcomp2.Init.WindowMode = COMP_WINDOWMODE_DISABLE;
  hcomp2.Init.TriggerMode = COMP_TRIGGERMODE_NONE;
  if (HAL_COMP_Init(&hcomp2) != HAL_OK)
  {
    Error_Handler();
  }

}

static void MX_DAC1_Init(void)
{

  DAC_ChannelConfTypeDef sConfig = {0};

  /** DAC Initialization
  */
  hdac1.Instance = DAC1;
  if (HAL_DAC_Init(&hdac1) != HAL_OK)
  {
    Error_Handler();
  }
  /** DAC channel OUT1 config
  */
  sConfig.DAC_SampleAndHold = DAC_SAMPLEANDHOLD_DISABLE;
  sConfig.DAC_Trigger = DAC_TRIGGER_NONE;
  sConfig.DAC_OutputBuffer = DAC_OUTPUTBUFFER_DISABLE;
  sConfig.DAC_ConnectOnChipPeripheral = DAC_CHIPCONNECT_ENABLE;
  sConfig.DAC_UserTrimming = DAC_TRIMMING_FACTORY;
  if (HAL_DAC_ConfigChannel(&hdac1, &sConfig, DAC_CHANNEL_1) != HAL_OK)
  {
    Error_Handler();
  }
  /** DAC channel OUT2 config
  */
  if (HAL_DAC_ConfigChannel(&hdac1, &sConfig, DAC_CHANNEL_2) != HAL_OK)
  {
    Error_Handler();
  }

}

static void MX_I2C1_Init(void)
{

  hi2c1.Instance = I2C1;
  hi2c1.Init.Timing = 0x0010061A;
  hi2c1.Init.OwnAddress1 = 0;
  hi2c1.Init.AddressingMode = I2C_ADDRESSINGMODE_7BIT;
  hi2c1.Init.DualAddressMode = I2C_DUALADDRESS_DISABLE;
  hi2c1.Init.OwnAddress2 = 0;
  hi2c1.Init.OwnAddress2Masks = I2C_OA2_NOMASK;
  hi2c1.Init.GeneralCallMode = I2C_GENERALCALL_DISABLE;
  hi2c1.Init.NoStretchMode = I2C_NOSTRETCH_DISABLE;
  if (HAL_I2C_Init(&hi2c1) != HAL_OK)
  {
    Error_Handler();
  }
  /** Configure Analogue filter
  */
  if (HAL_I2CEx_ConfigAnalogFilter(&hi2c1, I2C_ANALOGFILTER_ENABLE) != HAL_OK)
  {
    Error_Handler();
  }
  /** Configure Digital filter
  */
  if (HAL_I2CEx_ConfigDigitalFilter(&hi2c1, 0) != HAL_OK)
  {
    Error_Handler();
  }

}

static void MX_OPAMP1_Init(void)
{

  hopamp1.Instance = OPAMP1;
  hopamp1.Init.PowerSupplyRange = OPAMP_POWERSUPPLY_HIGH;
  hopamp1.Init.Mode = OPAMP_PGA_MODE;
  hopamp1.Init.NonInvertingInput = OPAMP_NONINVERTINGINPUT_IO0;
  hopamp1.Init.InvertingInput = OPAMP_INVERTINGINPUT_IO0;
  hopamp1.Init.PgaGain = OPAMP_PGA_GAIN_8;
  hopamp1.Init.PowerMode = OPAMP_POWERMODE_NORMALPOWER;
  hopamp1.Init.UserTrimming = OPAMP_TRIMMING_FACTORY;
  if (HAL_OPAMP_Init(&hopamp1) != HAL_OK)
  {
    Error_Handler();
  }

}

static void MX_RTC_Init(void)
{

  RTC_TimeTypeDef sTime = {0};
  RTC_DateTypeDef sDate = {0};
  RTC_AlarmTypeDef sAlarm = {0};

  /** Initialize RTC Only
  */
  hrtc.Instance = RTC;
  hrtc.Init.HourFormat = RTC_HOURFORMAT_24;
  hrtc.Init.AsynchPrediv = 127;
  hrtc.Init.SynchPrediv = 255;
  hrtc.Init.OutPut = RTC_OUTPUT_ALARMA;
  hrtc.Init.OutPutRemap = RTC_OUTPUT_REMAP_NONE;
  hrtc.Init.OutPutPolarity = RTC_OUTPUT_POLARITY_HIGH;
  hrtc.Init.OutPutType = RTC_OUTPUT_TYPE_PUSHPULL;
  if (HAL_RTC_Init(&hrtc) != HAL_OK)
  {
    Error_Handler();
  }

  /** Initialize RTC and set the Time and Date
  */
  sTime.Hours = 0x0;
  sTime.Minutes = 0x0;
  sTime.Seconds = 0x0;
  sTime.DayLightSaving = RTC_DAYLIGHTSAVING_NONE;
  sTime.StoreOperation = RTC_STOREOPERATION_RESET;
  if (HAL_RTC_SetTime(&hrtc, &sTime, RTC_FORMAT_BCD) != HAL_OK)
  {
    Error_Handler();
  }
  sDate.WeekDay = RTC_WEEKDAY_MONDAY;
  sDate.Month = RTC_MONTH_JANUARY;
  sDate.Date = 0x1;
  sDate.Year = 0x0;

  if (HAL_RTC_SetDate(&hrtc, &sDate, RTC_FORMAT_BCD) != HAL_OK)
  {
    Error_Handler();
  }
  /** Enable the Alarm A
  */
  sAlarm.AlarmTime.Hours = 0x0;
  sAlarm.AlarmTime.Minutes = 0x0;
  sAlarm.AlarmTime.Seconds = 0x0;
  sAlarm.AlarmTime.SubSeconds = 0x0;
  sAlarm.AlarmTime.DayLightSaving = RTC_DAYLIGHTSAVING_NONE;
  sAlarm.AlarmTime.StoreOperation = RTC_STOREOPERATION_RESET;
  sAlarm.AlarmMask = RTC_ALARMMASK_NONE;
  sAlarm.AlarmSubSecondMask = RTC_ALARMSUBSECONDMASK_ALL;
  sAlarm.AlarmDateWeekDaySel = RTC_ALARMDATEWEEKDAYSEL_DATE;
  sAlarm.AlarmDateWeekDay = 0x1;
  sAlarm.Alarm = RTC_ALARM_A;
  if (HAL_RTC_SetAlarm(&hrtc, &sAlarm, RTC_FORMAT_BCD) != HAL_OK)
  {
    Error_Handler();
  }

}

static void MX_TIM1_Init(void)
{

  /* USER CODE BEGIN TIM1_Init 0 */
  errorcode = 991; // Error_Handler morse_trap code
  /* USER CODE END TIM1_Init 0 */

  TIM_ClockConfigTypeDef sClockSourceConfig = {0};
  TIM_MasterConfigTypeDef sMasterConfig = {0};
  TIMEx_BreakInputConfigTypeDef sBreakInputConfig = {0};
  TIM_OC_InitTypeDef sConfigOC = {0};
  TIM_BreakDeadTimeConfigTypeDef sBreakDeadTimeConfig = {0};

  /* USER CODE BEGIN TIM1_Init 1 */
  errorcode = 992; // Error_Handler morse_trap code

  /* USER CODE END TIM1_Init 1 */
  htim1.Instance = TIM1;
  htim1.Init.Prescaler = 0;
  htim1.Init.CounterMode = TIM_COUNTERMODE_UP;
  htim1.Init.Period = 79;
  htim1.Init.ClockDivision = TIM_CLOCKDIVISION_DIV1;
  htim1.Init.RepetitionCounter = 0;
  htim1.Init.AutoReloadPreload = TIM_AUTORELOAD_PRELOAD_DISABLE;
  if (HAL_TIM_Base_Init(&htim1) != HAL_OK)
  {
    Error_Handler();
  }
  sClockSourceConfig.ClockSource = TIM_CLOCKSOURCE_INTERNAL;
  if (HAL_TIM_ConfigClockSource(&htim1, &sClockSourceConfig) != HAL_OK)
  {
    Error_Handler();
  }
  if (HAL_TIM_PWM_Init(&htim1) != HAL_OK)
  {
    Error_Handler();
  }
  sMasterConfig.MasterOutputTrigger = TIM_TRGO_RESET;
  sMasterConfig.MasterOutputTrigger2 = TIM_TRGO2_RESET;
  sMasterConfig.MasterSlaveMode = TIM_MASTERSLAVEMODE_DISABLE;
  if (HAL_TIMEx_MasterConfigSynchronization(&htim1, &sMasterConfig) != HAL_OK)
  {
    Error_Handler();
  }
  sBreakInputConfig.Source = TIM_BREAKINPUTSOURCE_BKIN;
  sBreakInputConfig.Enable = TIM_BREAKINPUTSOURCE_ENABLE;
  sBreakInputConfig.Polarity = TIM_BREAKINPUTSOURCE_POLARITY_HIGH;
  if (HAL_TIMEx_ConfigBreakInput(&htim1, TIM_BREAKINPUT_BRK, &sBreakInputConfig) != HAL_OK)
  {
    Error_Handler();
  }
  sBreakInputConfig.Source = TIM_BREAKINPUTSOURCE_COMP2;
  if (HAL_TIMEx_ConfigBreakInput(&htim1, TIM_BREAKINPUT_BRK, &sBreakInputConfig) != HAL_OK)
  {
    Error_Handler();
  }
  sBreakInputConfig.Source = TIM_BREAKINPUTSOURCE_BKIN;
  if (HAL_TIMEx_ConfigBreakInput(&htim1, TIM_BREAKINPUT_BRK2, &sBreakInputConfig) != HAL_OK)
  {
    Error_Handler();
  }
  sBreakInputConfig.Source = TIM_BREAKINPUTSOURCE_COMP1;
  if (HAL_TIMEx_ConfigBreakInput(&htim1, TIM_BREAKINPUT_BRK2, &sBreakInputConfig) != HAL_OK)
  {
    Error_Handler();
  }
  sConfigOC.OCMode = TIM_OCMODE_PWM1;
  sConfigOC.Pulse = 0;
  sConfigOC.OCPolarity = TIM_OCPOLARITY_HIGH;
  sConfigOC.OCNPolarity = TIM_OCNPOLARITY_HIGH;
  sConfigOC.OCFastMode = TIM_OCFAST_DISABLE;
  sConfigOC.OCIdleState = TIM_OCIDLESTATE_RESET;
  sConfigOC.OCNIdleState = TIM_OCNIDLESTATE_RESET;
  if (HAL_TIM_PWM_ConfigChannel(&htim1, &sConfigOC, TIM_CHANNEL_1) != HAL_OK)
  {
    Error_Handler();
  }
  sBreakDeadTimeConfig.OffStateRunMode = TIM_OSSR_ENABLE;
  sBreakDeadTimeConfig.OffStateIDLEMode = TIM_OSSI_ENABLE;
  sBreakDeadTimeConfig.LockLevel = TIM_LOCKLEVEL_OFF;
  sBreakDeadTimeConfig.DeadTime = 0;
  sBreakDeadTimeConfig.BreakState = TIM_BREAK_ENABLE;
  sBreakDeadTimeConfig.BreakPolarity = TIM_BREAKPOLARITY_HIGH;
  sBreakDeadTimeConfig.BreakFilter = 0;
  sBreakDeadTimeConfig.Break2State = TIM_BREAK2_ENABLE;
  sBreakDeadTimeConfig.Break2Polarity = TIM_BREAK2POLARITY_HIGH;
  sBreakDeadTimeConfig.Break2Filter = 0;
  sBreakDeadTimeConfig.AutomaticOutput = TIM_AUTOMATICOUTPUT_ENABLE;
  if (HAL_TIMEx_ConfigBreakDeadTime(&htim1, &sBreakDeadTimeConfig) != HAL_OK)
  {
    Error_Handler();
  }
  HAL_TIM_MspPostInit(&htim1);

}

static void MX_TIM2_Init(void)
{

  /* USER CODE BEGIN TIM2_Init 0 */
  errorcode = 993; // Error_Handler morse_trap code
  /* USER CODE END TIM2_Init 0 */

  TIM_ClockConfigTypeDef sClockSourceConfig = {0};
  TIM_MasterConfigTypeDef sMasterConfig = {0};
  TIM_OC_InitTypeDef sConfigOC = {0};
  TIM_IC_InitTypeDef sConfigIC = {0};

  htim2.Instance = TIM2;
  htim2.Init.Prescaler = 0;
  htim2.Init.CounterMode = TIM_COUNTERMODE_UP;
  htim2.Init.Period = 640;
  htim2.Init.ClockDivision = TIM_CLOCKDIVISION_DIV1;
  htim2.Init.AutoReloadPreload = TIM_AUTORELOAD_PRELOAD_DISABLE;
  if (HAL_TIM_Base_Init(&htim2) != HAL_OK)
  {
    Error_Handler();
  }
  sClockSourceConfig.ClockSource = TIM_CLOCKSOURCE_INTERNAL;
  if (HAL_TIM_ConfigClockSource(&htim2, &sClockSourceConfig) != HAL_OK)
  {
    Error_Handler();
  }
  if (HAL_TIM_PWM_Init(&htim2) != HAL_OK)
  {
    Error_Handler();
  }
  if (HAL_TIM_IC_Init(&htim2) != HAL_OK)
  {
    Error_Handler();
  }
  sMasterConfig.MasterOutputTrigger = TIM_TRGO_RESET;
  sMasterConfig.MasterSlaveMode = TIM_MASTERSLAVEMODE_DISABLE;
  if (HAL_TIMEx_MasterConfigSynchronization(&htim2, &sMasterConfig) != HAL_OK)
  {
    Error_Handler();
  }
  sConfigOC.OCMode = TIM_OCMODE_PWM1;
  sConfigOC.Pulse = 0;
  sConfigOC.OCPolarity = TIM_OCPOLARITY_HIGH;
  sConfigOC.OCFastMode = TIM_OCFAST_DISABLE;
  if (HAL_TIM_PWM_ConfigChannel(&htim2, &sConfigOC, TIM_CHANNEL_1) != HAL_OK)
  {
    Error_Handler();
  }
  sConfigIC.ICPolarity = TIM_INPUTCHANNELPOLARITY_RISING;
  sConfigIC.ICSelection = TIM_ICSELECTION_DIRECTTI;
  sConfigIC.ICPrescaler = TIM_ICPSC_DIV1;
  sConfigIC.ICFilter = 0;
  if (HAL_TIM_IC_ConfigChannel(&htim2, &sConfigIC, TIM_CHANNEL_3) != HAL_OK)
  {
    Error_Handler();
  }
  /* USER CODE BEGIN TIM2_Init 2 */
  errorcode = 994; // Error_Handler morse_trap code

  /* USER CODE END TIM2_Init 2 */
  HAL_TIM_MspPostInit(&htim2);

}

static void MX_TIM15_Init(void)
{

  /* USER CODE BEGIN TIM15_Init 0 */
  errorcode = 995; // Error_Handler morse_trap code

  /* USER CODE END TIM15_Init 0 */

  TIM_ClockConfigTypeDef sClockSourceConfig = {0};
  TIM_MasterConfigTypeDef sMasterConfig = {0};

  htim15.Instance = TIM15;
  htim15.Init.Prescaler = 0;
  htim15.Init.CounterMode = TIM_COUNTERMODE_UP;
  htim15.Init.Period = 65535;
  htim15.Init.ClockDivision = TIM_CLOCKDIVISION_DIV1;
  htim15.Init.RepetitionCounter = 0;
  htim15.Init.AutoReloadPreload = TIM_AUTORELOAD_PRELOAD_DISABLE;
  if (HAL_TIM_Base_Init(&htim15) != HAL_OK)
  {
    Error_Handler();
  }
  sClockSourceConfig.ClockSource = TIM_CLOCKSOURCE_INTERNAL;
  if (HAL_TIM_ConfigClockSource(&htim15, &sClockSourceConfig) != HAL_OK)
  {
    Error_Handler();
  }
  sMasterConfig.MasterOutputTrigger = TIM_TRGO_RESET;
  sMasterConfig.MasterSlaveMode = TIM_MASTERSLAVEMODE_DISABLE;
  if (HAL_TIMEx_MasterConfigSynchronization(&htim15, &sMasterConfig) != HAL_OK)
  {
    Error_Handler();
  }

}

static void MX_USART1_UART_Init(void)
{

  /* USER CODE BEGIN USART1_Init 0 */
  errorcode = 996; // Error_Handler morse_trap code

  /* USER CODE END USART1_Init 0 */

  huart1.Instance = USART1;
  huart1.Init.BaudRate = 115200;
  huart1.Init.WordLength = UART_WORDLENGTH_8B;
  huart1.Init.StopBits = UART_STOPBITS_1;
  huart1.Init.Parity = UART_PARITY_NONE;
  huart1.Init.Mode = UART_MODE_TX_RX;
  huart1.Init.HwFlowCtl = UART_HWCONTROL_NONE;
  huart1.Init.OverSampling = UART_OVERSAMPLING_8;
  huart1.Init.OneBitSampling = UART_ONE_BIT_SAMPLE_DISABLE;
  huart1.AdvancedInit.AdvFeatureInit = UART_ADVFEATURE_NO_INIT;
  if (HAL_UART_Init(&huart1) != HAL_OK)
  {
    Error_Handler();
  }

}

static void MX_DMA_Init(void)
{

  /* DMA controller clock enable */
  __HAL_RCC_DMA2_CLK_ENABLE();
  __HAL_RCC_DMA1_CLK_ENABLE();

  /* DMA interrupt init */
  /* DMA1_Channel1_IRQn interrupt configuration */
  HAL_NVIC_SetPriority(DMA1_Channel1_IRQn, 6, 0);
  HAL_NVIC_EnableIRQ(DMA1_Channel1_IRQn);
  /* DMA1_Channel6_IRQn interrupt configuration */
  HAL_NVIC_SetPriority(DMA1_Channel6_IRQn, 6, 0);
  HAL_NVIC_EnableIRQ(DMA1_Channel6_IRQn);
  /* DMA1_Channel7_IRQn interrupt configuration */
  HAL_NVIC_SetPriority(DMA1_Channel7_IRQn, 6, 0);
  HAL_NVIC_EnableIRQ(DMA1_Channel7_IRQn);
  /* DMA2_Channel6_IRQn interrupt configuration */
  HAL_NVIC_SetPriority(DMA2_Channel6_IRQn, 6, 0);
  HAL_NVIC_EnableIRQ(DMA2_Channel6_IRQn);
  /* DMA2_Channel7_IRQn interrupt configuration */
  HAL_NVIC_SetPriority(DMA2_Channel7_IRQn, 6, 0);
  HAL_NVIC_EnableIRQ(DMA2_Channel7_IRQn);

}

static void MX_GPIO_Init(void)
{
  GPIO_InitTypeDef GPIO_InitStruct = {0};

  /* GPIO Ports Clock Enable */
  __HAL_RCC_GPIOC_CLK_ENABLE();
  __HAL_RCC_GPIOH_CLK_ENABLE();
  __HAL_RCC_GPIOA_CLK_ENABLE();
  __HAL_RCC_GPIOB_CLK_ENABLE();
  __HAL_RCC_GPIOD_CLK_ENABLE();

  /*Configure GPIO pin Output Level */
  HAL_GPIO_WritePin(GPIOB, LED_RED_Pin|LED_GRN_Pin, GPIO_PIN_SET);

  /*Configure GPIO pin Output Level */
  HAL_GPIO_WritePin(GPIOB, PADxx_Pin|PAD7_Pin|BQ_RST_SHUT_Pin, GPIO_PIN_RESET);

  /*Configure GPIO pin Output Level */
  HAL_GPIO_WritePin(GPIOC, DUMP2_Pin|DUMP_NOT_Pin|DUMP_Pin|HEATER_NOT_Pin
                          |HEATER_Pin, GPIO_PIN_RESET);

  /*Configure GPIO pin Output Level */
  HAL_GPIO_WritePin(BQ_LD_GPIO_Port, BQ_LD_Pin, GPIO_PIN_RESET);

  /*Configure GPIO pins : LED_RED_Pin LED_GRN_Pin PADxx_Pin PAD7_Pin
                           BQ_RST_SHUT_Pin */
  GPIO_InitStruct.Pin = LED_RED_Pin|LED_GRN_Pin|PADxx_Pin|PAD7_Pin
                          |BQ_RST_SHUT_Pin;
  GPIO_InitStruct.Mode = GPIO_MODE_OUTPUT_PP;
  GPIO_InitStruct.Pull = GPIO_NOPULL;
  GPIO_InitStruct.Speed = GPIO_SPEED_FREQ_LOW;
  HAL_GPIO_Init(GPIOB, &GPIO_InitStruct);

  /*Configure GPIO pin : PB13 */
  GPIO_InitStruct.Pin = GPIO_PIN_13;
  GPIO_InitStruct.Mode = GPIO_MODE_AF_OD;
  GPIO_InitStruct.Pull = GPIO_NOPULL;
  GPIO_InitStruct.Speed = GPIO_SPEED_FREQ_LOW;
  GPIO_InitStruct.Alternate = GPIO_AF4_I2C2;
  HAL_GPIO_Init(GPIOB, &GPIO_InitStruct);

  /*Configure GPIO pin : PB14 */
  GPIO_InitStruct.Pin = GPIO_PIN_14;
  GPIO_InitStruct.Mode = GPIO_MODE_AF_OD;
  GPIO_InitStruct.Pull = GPIO_NOPULL;
  GPIO_InitStruct.Speed = GPIO_SPEED_FREQ_VERY_HIGH;
  GPIO_InitStruct.Alternate = GPIO_AF4_I2C2;
  HAL_GPIO_Init(GPIOB, &GPIO_InitStruct);

  /*Configure GPIO pin : DUMP2_Pin */
  GPIO_InitStruct.Pin = DUMP2_Pin;
  GPIO_InitStruct.Mode = GPIO_MODE_OUTPUT_PP;
  GPIO_InitStruct.Pull = GPIO_PULLDOWN;
  GPIO_InitStruct.Speed = GPIO_SPEED_FREQ_LOW;
  HAL_GPIO_Init(DUMP2_GPIO_Port, &GPIO_InitStruct);

  /*Configure GPIO pins : DUMP_NOT_Pin DUMP_Pin HEATER_NOT_Pin HEATER_Pin */
  GPIO_InitStruct.Pin = DUMP_NOT_Pin|DUMP_Pin|HEATER_NOT_Pin|HEATER_Pin;
  GPIO_InitStruct.Mode = GPIO_MODE_OUTPUT_PP;
  GPIO_InitStruct.Pull = GPIO_NOPULL;
  GPIO_InitStruct.Speed = GPIO_SPEED_FREQ_LOW;
  HAL_GPIO_Init(GPIOC, &GPIO_InitStruct);

  /*Configure GPIO pin : BQ_LD_Pin */
  GPIO_InitStruct.Pin = BQ_LD_Pin;
  GPIO_InitStruct.Mode = GPIO_MODE_OUTPUT_PP;
  GPIO_InitStruct.Pull = GPIO_NOPULL;
  GPIO_InitStruct.Speed = GPIO_SPEED_FREQ_LOW;
  HAL_GPIO_Init(BQ_LD_GPIO_Port, &GPIO_InitStruct);

  /*Configure GPIO pin : ALERT_Pin */
  GPIO_InitStruct.Pin = ALERT_Pin;
  GPIO_InitStruct.Mode = GPIO_MODE_IT_RISING;
  GPIO_InitStruct.Pull = GPIO_NOPULL;
  HAL_GPIO_Init(ALERT_GPIO_Port, &GPIO_InitStruct);

  /* EXTI interrupt init*/
  HAL_NVIC_SetPriority(EXTI3_IRQn, 11, 0);
  HAL_NVIC_EnableIRQ(EXTI3_IRQn);

}

void StartDefaultTask(void *argument)
{
  /* USER CODE BEGIN 5 */

  uint32_t noteval = 0; // TaskNotifyWait notification word

/* These #defines select uart output for monitoring. */
//#define TESTSHUTDOWN_VIA_COMMAND // Test processor commanded BQ shutdown
  #define BQMonitor
  #define CANMBXTESTnFANMonitor
//  #define ADCMonitor

  uint32_t mctr = 0;
  uint8_t lctr = 0;
  int i;
  int16_t* pv;

extern uint8_t bqflag;

extern int16_t cellv[2][BQVSIZE];
extern uint8_t cvidx;
extern uint32_t cvflag;

  struct SERIALSENDTASKBCB* pbuf1 = getserialbuf(&HUARTMON,128);
  if (pbuf1 == NULL) morse_trap(115);
  struct SERIALSENDTASKBCB* pbuf2 = getserialbuf(&HUARTMON,128);
  if (pbuf2 == NULL) morse_trap(125);

  yprintf(&pbuf1,"\n\n\rPROGRAM STARTS");

#ifdef TESTSHUTDOWN_VIA_COMMAND
  uint32_t ticksys = xTaskGetTickCount();
  uint32_t tickstate = ticksys + 20000;
  uint8_t shutstate = 0;
  yprintf(&pbuf1,"\n\r\tProcessor commanded shut-down cycling");
#endif

#ifdef ADCMonitor
  uint32_t notectr_prev = 0;
  uint32_t notectr = 0; // Running count of notifications
#endif

#ifdef CANMBXTESTnFANMonitor
  uint32_t itmpctr_prev = 0;

      /* Add CAN Mailboxes */
  #define CID_TEST 0xE2E00000
  uint32_t mbxctr = 0;
  struct MAILBOXCAN* pmbx_cid_test; // Gateway HB
                                          //      CAN,  CAN ID, TaskHandle,  Notify bit, Skip,Paytype
    pmbx_cid_test = MailboxTask_add(pctl0,CID_TEST, NULL, DEFAULTTASKBIT02,0,23);
#endif

  /* Infinite loop */
  for(;;)
  {
    /* Wait for ADC new adc data (ADCTask.c) */
    xTaskNotifyWait(0,0xffffffff, &noteval, 10000);

    if (noteval & DEFAULTTASKBIT02)
    {
#ifdef CANnFANMonitor
      yprintf(&pbuf1,"\n\rCAN TEST %08X %d",pmbx_cid_test->ncan.can.id,mbxctr++);
    extern float fanrpm; extern uint32_t itmpctr;
      yprintf(&pbuf2," %6.0f %4d",fanrpm, itmpctr-itmpctr_prev);
      itmpctr_prev = itmpctr;
#endif
    }
//continue; // Skip BQ displays

    if (noteval & DEFAULTTASKBIT00)
    {
#ifdef ADCMonitor
      notectr += 1;  // Running count of notifications
      if ((int)(notectr-notectr_prev) >= 128)
      {
    extern float adcsumfilt[2][ADC1IDX_ADCSCANSIZE];
        yprintf(&pbuf1,"\n\rADC %3d %4d",mctr++,notectr-notectr_prev);
        notectr_prev = notectr;
        for (i = 0; i < 8; i++)
          yprintf(&pbuf1," %7.3f",adcsumfilt[0][i]);
      }
#endif
    }
    if ((noteval & DEFAULTTASKBIT01) == 0) continue;

    yprintf(&pbuf1,"\n\r%d CHGR", mctr++);

#ifdef BQMonitor
//extern uint8_t dbA[16];
//yprintf(&pbuf1,"\n\rdbA");

    /* Verbose listing of BQ memory blocks. */
//    bqview_blk_0x9231 (&pbuf1);  yprintf(&pbuf1,"\n\r");
//    bqview_blk_0x92fa (&pbuf1);  yprintf(&pbuf1,"\n\r");
    bqview_blk_0x62 (&pbuf1);
//    bqview_cuv_cov_snap_0x0080_0x0081 (&pbuf1);
    bqview_cb_status2_0x0086_0x0087 (&pbuf1); // Cell balancing time

    /* Consolidation of cell-by-cell lines. */
    bqview_blk_0x0071_u32 (&pbuf1); // ADC counts: voltage w current
    bqview_blk_0x14_u16   (&pbuf1); // BQ reported cell voltages
    bqview_blk_0x0083 (&pbuf1);
    bqview_balance1 (&pbuf1);
    bqview_balance_misc (&pbuf1);
    bqview_our_params (&pbuf1); // Some params from BQTask.h
    bqview_our_params_sortV (&pbuf1); // Sorted voltage array

extern uint16_t alarm_status[3]; // 0x62 TRM:105
extern uint16_t alarm_status_ctr;
extern uint16_t alarm_status_ctr1;
    yprintf(&pbuf1,"\n\r alarm_status_ctr: %d alarm_status: %04X %04X %04X ctr1: %d",
      alarm_status_ctr,alarm_status[0],alarm_status[1],alarm_status[2],alarm_status_ctr1);

//    bqview_blk_0x0075_s16 (&pbuf1); // DASTATUS85: min max cell volt
    bqview_blk_0x9335_14  (&pbuf1);

    /* Block includes REG12 */
extern uint8_t blk_0x9231_12[12];
    yprintf(&pbuf1,"\n\rblk_0x9231_12:");
    for (i = 0; i < 12; i++) yprintf(&pbuf1," %02X",blk_0x9231_12[i]);

extern uint8_t blk_0x92fa_11[11];
    yprintf(&pbuf1,"\n\rblk_0x92fa_11:");
    for (i = 0; i < 11; i++) yprintf(&pbuf1," %04X %02X:",(0x92FA + i),blk_0x92fa_11[i]);

extern uint16_t device_number_u16;
extern uint16_t fw_version_u16[3];
extern uint16_t hw_version_u16;
    yprintf(&pbuf1,"\n\rdevice_number:  0x%04X",device_number_u16);
    yprintf(&pbuf1,"\tfw_version: 0x%04X 0x%04X 0x%04X",fw_version_u16[0],fw_version_u16[1],fw_version_u16[2]);
    yprintf(&pbuf1,"\thw_version: 0x%04X",hw_version_u16);

extern uint16_t battery_status;
extern uint16_t reg0_config_u16;
extern uint16_t ddsgp_config_u16;
    yprintf(&pbuf1,"\n\rbattery_status: 0x%04X", battery_status);

#ifdef TESTSHUTDOWN_VIA_COMMAND
extern uint8_t bq_initflag; // 1 = signal BQ to initialize

  /* Shutdown testing. */
    ticksys = xTaskGetTickCount();
    switch (shutstate)
    {
      case 0: // Normal operation
        if ((int32_t)(ticksys - tickstate) < 0) break;
        HAL_GPIO_WritePin(GPIOB,GPIO_PIN_5,GPIO_PIN_SET); // Begin RST_SHUT
        yprintf(&pbuf1,"\n\r\tRST_SHUT: set");
        shutstate = 1;
        tickstate = tickstate + 5000; // 3 sec
        HAL_GPIO_WritePin(GPIOB,GPIO_PIN_1,GPIO_PIN_RESET); // RED LED ON

      case 1: // Shutdown
        if ((int32_t)(ticksys - tickstate) < 0) break;
        HAL_GPIO_WritePin(GPIOB,GPIO_PIN_5,GPIO_PIN_RESET); // End RST_SHUT
        yprintf(&pbuf1,"\n\r\tRST_SHUT: reset");
        shutstate = 2;
        tickstate = tickstate + 2000; // 2 sec

      case 2:  // Wake-up
        if ((int32_t)(ticksys - tickstate) < 0) break;
        HAL_GPIO_WritePin(GPIOB,GPIO_PIN_1,GPIO_PIN_SET); // RED LED OFF
        HAL_GPIO_WritePin(GPIOD,GPIO_PIN_2,GPIO_PIN_SET);   // LD
        yprintf(&pbuf1,"\n\r\tLD: set");
        osDelay(330);
        HAL_GPIO_WritePin(GPIOD,GPIO_PIN_2,GPIO_PIN_RESET); // LD
        osDelay(3);
        bq_initflag = 0;
        yprintf(&pbuf1,"\n\r\tLD: reset");
        shutstate = 0;
        tickstate = tickstate + 15000; // 105sec
    }
#endif

    if (bqflag == 0)
    {
      if (cvflag == 0)
      { // Here new Cell voltage readings
        yprintf(&pbuf1,"\n\r\t%5d No cell readings: bqflag = %d",mctr++,bqflag);
        continue;
      }
      cvflag = 0; // Reset to wait for new readings

      /* Header: device readings and cell numbers */
      lctr += 1;
      if (lctr > 1)
      {
        lctr = 0;

        yprintf(&pbuf1,"\treg0_config: %02X\tddsgp_config_u16: %02X",reg0_config_u16,ddsgp_config_u16);
        yprintf(&pbuf1,"\n\n\r%d",mctr++);
        for (i = 1; i < 17; i++)
          yprintf(&pbuf1,"%7d",i); // Cell number column heading
          yprintf(&pbuf1," TOPSTACK PACKPIN    LD  CC2"); //Additional
      }

      /* Cell voltages. */
      pv = &cellv[cvidx][0];
      yprintf(&pbuf1,"\n\r   ");
      for (i = 0; i < BQVSIZE; i++)
      {
        yprintf(&pbuf1,"%7d",*pv++);
      }

      /* Sum cell voltages to check Topstack and packpin */
      int32_t csum = 0;
      pv = &cellv[cvidx][0];
      for (i = 0; i < 16; i++) csum += *pv++;
      yprintf (&pbuf1,"%7d", csum);

 //     cvidx ^= 1; // Alternate buffers for readin/readout
    }
    else
    { // Here, not getting valid I2C transfers from BQ
      yprintf(&pbuf1,"\n\r%5d: bqflag: %d",mctr++, bqflag);
    }

     /* Cell voltages for CAN. */
      uint16_t* pv = &bqfunction.cellv_latest[0];
      yprintf(&pbuf1,"\n\rlate");
      for (i = 0; i < 16; i++)
      {
        yprintf(&pbuf1,"%7u",*pv++);
      }

#endif //BQMonitor
  }
  /* USER CODE END 5 */
}

void HAL_TIM_PeriodElapsedCallback(TIM_HandleTypeDef *htim)
{
  if (htim->Instance == TIM16) {
    HAL_IncTick();
  }
}

void Error_Handler(void)
{
  __disable_irq();
  while (1)
  {
  }
}

/************************ (C) COPYRIGHT STMicroelectronics *****END OF FILE****/
